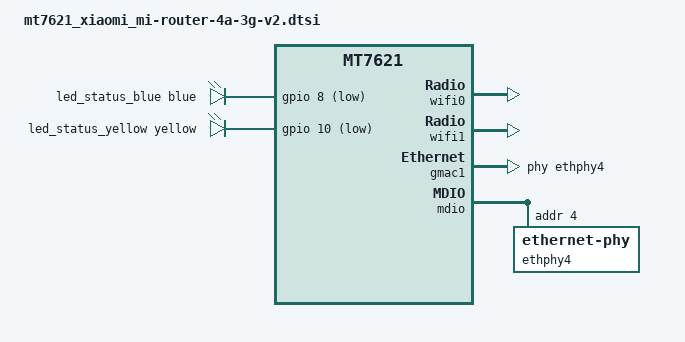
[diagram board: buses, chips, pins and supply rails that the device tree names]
// SPDX-License-Identifier: GPL-2.0-or-later OR MIT

#include <dt-bindings/leds/common.h>

#include "mt7621_xiaomi_mi-router-4a-common.dtsi"

/ {
	aliases {
		label-mac-device = &gmac1;
	};

	leds {
		compatible = "gpio-leds";

		led_status_blue: status_blue {
			function = LED_FUNCTION_STATUS;
			color = <LED_COLOR_ID_BLUE>;
			gpios = <&gpio 8 GPIO_ACTIVE_LOW>;
		};

		led_status_yellow: status_yellow {
			function = LED_FUNCTION_STATUS;
			color = <LED_COLOR_ID_YELLOW>;
			gpios = <&gpio 10 GPIO_ACTIVE_LOW>;
		};
	};
};

&wifi0 {
	nvmem-cells = <&eeprom_factory_8000>;
	nvmem-cell-names = "eeprom";
	ieee80211-freq-limit = <5000000 6000000>;
};

&wifi1 {
	nvmem-cells = <&eeprom_factory_0>;
	nvmem-cell-names = "eeprom";
	ieee80211-freq-limit = <2400000 2500000>;
};

&gmac1 {
	status = "okay";
	label = "wan";
	phy-handle = <&ethphy4>;

	nvmem-cells = <&macaddr_factory_e006>;
	nvmem-cell-names = "mac-address";
};

&mdio {
	ethphy4: ethernet-phy@4 {
		reg = <4>;
	};
};

&switch0 {
	ports {
		port@2 {
			status = "okay";
			label = "lan2";
		};

		port@3 {
			status = "okay";
			label = "lan1";
		};
	};
};
